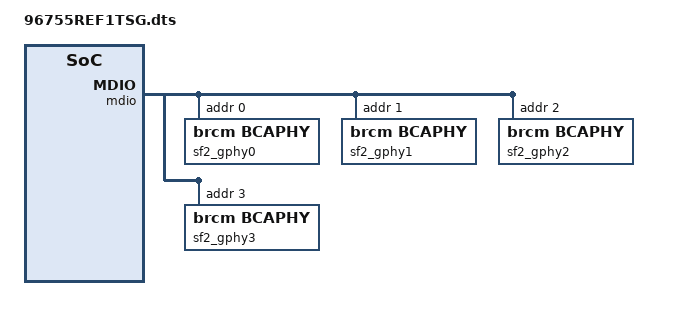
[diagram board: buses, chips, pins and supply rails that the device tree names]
#include "47622.dtsi"

/ {
    memory_controller {
        memcfg = <(
                   /* CUSTOM speed 1026MHz */
	           BP_DDR_SPEED_CUSTOM_1      | \
                   BP_DDR_TOTAL_SIZE_512MB    | \
                   BP_DDR_DEVICE_WIDTH_16     | \
                   BP_DDR_TOTAL_WIDTH_16BIT   | \
                   BP_DDR_SSC_CONFIG_1)>;
    };

	buttons {
		compatible = "brcm,buttons";
		ses_button {
			ext_irq = <&bca_extintr 4 BCA_GPIO_ACTIVE_LOW (BCA_EXTINTR_TYPE_LOW_LEVEL | BCA_EXTINTR_TYPE_SENSE_EDGE)>;
			release {
				ses_short_period = <0>;
				ses_long_period = <3>;
			};
		};
	};

	switch_sf2:0 {
	};
};


&mdio {
	phy8:8 {
		status = "okay";
	};

	phy_serdes0:6 {
		phy-extswitch;
		status = "okay";
	};

	/* PHYs on external SF2 switch */
	sf2_gphy0:0 {
		compatible = "brcm,bcaphy";
		phy-type = "EGPHY";
		reg = <0>;
		status = "okay";
	};
	sf2_gphy1:1 {
		compatible = "brcm,bcaphy";
		phy-type = "EGPHY";
		reg = <1>;
		status = "okay";
	};
	sf2_gphy2:2 {
		compatible = "brcm,bcaphy";
		phy-type = "EGPHY";
		reg = <2>;
		status = "okay";
	};
	sf2_gphy3:3 {
		compatible = "brcm,bcaphy";
		phy-type = "EGPHY";
		reg = <3>;
		status = "okay";
	};
};

&switch_sf2 {
	unit = <1>;
	sw-type = "SF2_SW";

	ports {
		#address-cells = <1>;
		#size-cells = <0>;

		sf2_port0@0 {
			phy-handle = <&sf2_gphy0>;
			reg = <0>;
			mac-type = "SF2MAC";
			phy-mode = "gmii";
			gmii-direct;
			status = "okay";
		};
		sf2_port1@1 {
			phy-handle = <&sf2_gphy1>;
			reg = <1>;
			mac-type = "SF2MAC";
			phy-mode = "gmii";
			gmii-direct;
			status = "okay";
		};
		sf2_port2@2 {
			phy-handle = <&sf2_gphy2>;
			reg = <2>;
			mac-type = "SF2MAC";
			phy-mode = "gmii";
			gmii-direct;
			status = "okay";
		};
		sf2_port3@3 {
			phy-handle = <&sf2_gphy3>;
			reg = <3>;
			mac-type = "SF2MAC";
			phy-mode = "gmii";
			gmii-direct;
			status = "okay";
		};
		sf2_port8@8 {
			management;                     /* sf2.p8 <--> sysp.p1 */
			reg = <8>;
			mac-type = "SF2MAC";
			shrink-ipg;
			phy-mode = "gmii";
			gmii-direct;
			status = "okay";
		};
	};
};

&switch0 {
	ports {
		/* fixed port configuration */
		sysp_port0@0 {
			phy-handle = <&phy8>;
			status = "okay";
		};
		sysp_port1@1 {
			phy-handle = <&phy_serdes0>;
			link = <&switch_sf2>;           /* sysp.p1 <--> sf2.p8 */
			shrink-ipg;
			status = "okay";
		};
	};
};
